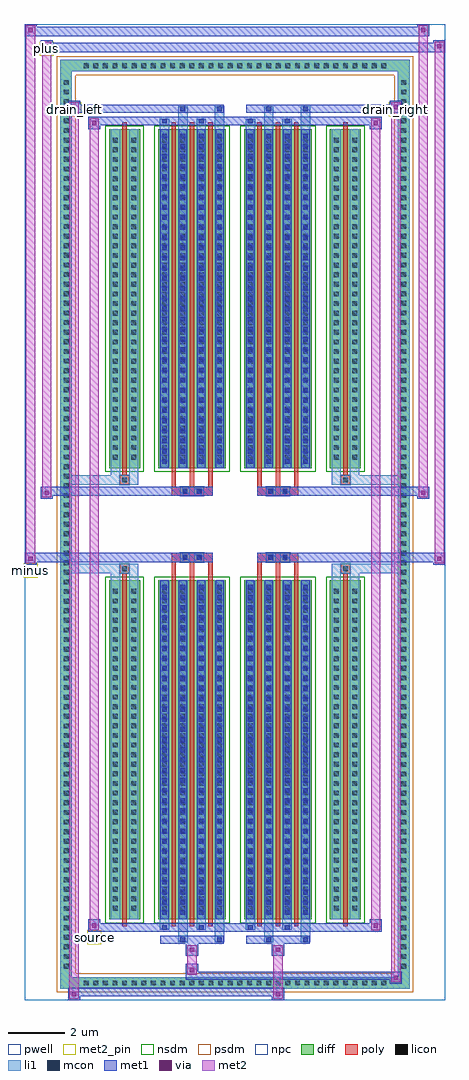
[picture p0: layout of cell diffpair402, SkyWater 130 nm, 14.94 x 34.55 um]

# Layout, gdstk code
import gdstk
lib = gdstk.Library(unit=1e-6, precision=5e-09)
def R(c, l, rs):  # rectangles x0, y0, x1, y1
    for r in rs: c.add(gdstk.rectangle(r[:2], r[2:], *l))
def A(c, l, x, y, w, h, nx, ny, dx, dy):  # array of equal rectangles
    R(c, l, [(x+i*dx, y+j*dy, x+i*dx+w, y+j*dy+h) for i in range(nx) for j in range(ny)])
def P(c, l, *ps):  # polygons
    for p in ps: c.add(gdstk.Polygon(p, *l))
pwell = (64, 44)
diff = (65, 20)
poly = (66, 20)
licon = (66, 44)
li1 = (67, 20)
mcon = (67, 44)
met1 = (68, 20)
via = (68, 44)
met2_pin = (69, 16)
met2 = (69, 20)
nsdm = (93, 44)
psdm = (94, 20)
npc = (95, 20)

diffpair402 = lib.new_cell('diffpair402')
R(diffpair402, pwell, [(-7.45,-16.84,7.45,17.71), (-4.77,-15.03,-0.01,-0.805), (0.01,-15.03,4.77,-0.805), (-4.77,0.805,-0.01,15.03), (0.01,0.805,4.77,15.03)])
A(diffpair402, diff, -5.475, -16.44, 0.41, 0.41, 32, 2, 0.34, 32.47)
A(diffpair402, diff, -6.18, -15.845, 0.41, 0.41, 1, 93, 0, 0.34)
A(diffpair402, diff, 5.77, -15.845, 0.41, 0.41, 1, 93, 0, 0.34)
R(diffpair402, diff, [(-5.475,-16.44,5.475,-16.03), (-6.18,-15.845,-5.77,15.845), (5.77,-15.845,6.18,15.845), (-4.46,-13.985,-3.36,-1.985), (-2.72,-13.985,-0.32,-1.985), (0.32,-13.985,2.72,-1.985), (3.36,-13.985,4.46,-1.985), (-4.46,1.985,-3.36,13.985), (-2.72,1.985,-0.32,13.985), (0.32,1.985,2.72,13.985), (3.36,1.985,4.46,13.985), (-5.475,16.03,5.475,16.44)])
P(diffpair402, diff, [(6.18,16.44),(-6.18,16.44),(-6.18,-16.03),(-5.77,-16.03),(-5.77,16.03),(5.77,16.03),(5.77,-16.03),(-5.77,-16.03),(-6.18,-16.03),(-6.18,-16.44),(6.18,-16.44)])
A(diffpair402, poly, -2.245, -14.235, 0.15, 12.5, 3, 2, 0.65, 15.97)
A(diffpair402, poly, 0.795, -14.235, 0.15, 12.5, 3, 2, 0.65, 15.97)
A(diffpair402, poly, -2.245, -1.735, 0.15, 0.4, 3, 2, 0.65, 3.07)
A(diffpair402, poly, 0.795, -1.735, 0.15, 0.4, 3, 2, 0.65, 3.07)
R(diffpair402, poly, [(-3.985,-14.235,-3.835,-1.735), (3.835,-14.235,3.985,-1.735), (-4.075,-1.735,-3.745,-1.405), (-4.075,-1.735,-3.745,-1.405), (3.745,-1.735,4.075,-1.405), (3.745,-1.735,4.075,-1.405), (-2.245,-1.335,-0.795,-1.005), (-1.935,-1.335,-1.605,-1.005), (-1.435,-1.335,-1.105,-1.005), (0.795,-1.335,2.245,-1.005), (1.105,-1.335,1.435,-1.005), (1.605,-1.335,1.935,-1.005), (-2.245,1.005,-0.795,1.335), (-1.935,1.005,-1.605,1.335), (-1.435,1.005,-1.105,1.335), (0.795,1.005,2.245,1.335), (1.105,1.005,1.435,1.335), (1.605,1.005,1.935,1.335), (-4.075,1.405,-3.745,1.735), (-4.075,1.405,-3.745,1.735), (3.745,1.405,4.075,1.735), (3.745,1.405,4.075,1.735), (-3.985,1.735,-3.835,14.235), (3.835,1.735,3.985,14.235)])
A(diffpair402, licon, -5.355, -16.32, 0.17, 0.17, 32, 2, 0.34, 32.47)
A(diffpair402, licon, -6.06, -15.725, 0.17, 0.17, 1, 93, 0, 0.34)
A(diffpair402, licon, 5.89, -15.725, 0.17, 0.17, 1, 93, 0, 0.34)
A(diffpair402, licon, -4.32, -13.68, 0.17, 0.17, 1, 34, 0, 0.34)
A(diffpair402, licon, -3.67, -13.68, 0.17, 0.17, 1, 34, 0, 0.34)
A(diffpair402, licon, -2.58, -13.68, 0.17, 0.17, 4, 34, 0.65, 0.34)
A(diffpair402, licon, 0.46, -13.68, 0.17, 0.17, 4, 34, 0.65, 0.34)
A(diffpair402, licon, 3.5, -13.68, 0.17, 0.17, 1, 34, 0, 0.34)
A(diffpair402, licon, 4.15, -13.68, 0.17, 0.17, 1, 34, 0, 0.34)
A(diffpair402, licon, -4.32, 2.29, 0.17, 0.17, 1, 34, 0, 0.34)
A(diffpair402, licon, -3.67, 2.29, 0.17, 0.17, 1, 34, 0, 0.34)
A(diffpair402, licon, -2.58, 2.29, 0.17, 0.17, 4, 34, 0.65, 0.34)
A(diffpair402, licon, 0.46, 2.29, 0.17, 0.17, 4, 34, 0.65, 0.34)
A(diffpair402, licon, 3.5, 2.29, 0.17, 0.17, 1, 34, 0, 0.34)
A(diffpair402, licon, 4.15, 2.29, 0.17, 0.17, 1, 34, 0, 0.34)
R(diffpair402, licon, [(-3.995,-1.655,-3.825,-1.485), (3.825,-1.655,3.995,-1.485), (-1.855,-1.255,-1.685,-1.085), (-1.355,-1.255,-1.185,-1.085), (1.185,-1.255,1.355,-1.085), (1.685,-1.255,1.855,-1.085), (-1.855,1.085,-1.685,1.255), (-1.355,1.085,-1.185,1.255), (1.185,1.085,1.355,1.255), (1.685,1.085,1.855,1.255), (-3.995,1.485,-3.825,1.655), (3.825,1.485,3.995,1.655)])
A(diffpair402, li1, -5.435, -16.4, 0.33, 0.33, 32, 2, 0.34, 32.47)
A(diffpair402, li1, -6.14, -15.805, 0.33, 0.33, 1, 93, 0, 0.34)
A(diffpair402, li1, 5.81, -15.805, 0.33, 0.33, 1, 93, 0, 0.34)
A(diffpair402, li1, -2.66, -13.985, 0.33, 12, 4, 2, 0.65, 15.97)
A(diffpair402, li1, 0.38, -13.985, 0.33, 12, 4, 2, 0.65, 15.97)
A(diffpair402, li1, -2.58, -13.83, 0.17, 0.17, 4, 33, 0.65, 0.36)
A(diffpair402, li1, -2.58, -13.83, 0.17, 11.69, 4, 2, 0.65, 15.97)
A(diffpair402, li1, 0.46, -13.83, 0.17, 0.17, 4, 33, 0.65, 0.36)
A(diffpair402, li1, 0.46, -13.83, 0.17, 11.69, 4, 2, 0.65, 15.97)
A(diffpair402, li1, -4.4, -13.76, 0.33, 0.33, 1, 34, 0, 0.34)
A(diffpair402, li1, -3.75, -13.76, 0.33, 0.33, 1, 34, 0, 0.34)
A(diffpair402, li1, -2.66, -13.76, 0.33, 0.33, 4, 34, 0.65, 0.34)
A(diffpair402, li1, 0.38, -13.76, 0.33, 0.33, 4, 34, 0.65, 0.34)
A(diffpair402, li1, 3.42, -13.76, 0.33, 0.33, 1, 34, 0, 0.34)
A(diffpair402, li1, 4.07, -13.76, 0.33, 0.33, 1, 34, 0, 0.34)
A(diffpair402, li1, -2.58, 2.14, 0.17, 0.17, 4, 33, 0.65, 0.36)
A(diffpair402, li1, 0.46, 2.14, 0.17, 0.17, 4, 33, 0.65, 0.36)
A(diffpair402, li1, -4.4, 2.21, 0.33, 0.33, 1, 34, 0, 0.34)
A(diffpair402, li1, -3.75, 2.21, 0.33, 0.33, 1, 34, 0, 0.34)
A(diffpair402, li1, -2.66, 2.21, 0.33, 0.33, 4, 34, 0.65, 0.34)
A(diffpair402, li1, 0.38, 2.21, 0.33, 0.33, 4, 34, 0.65, 0.34)
A(diffpair402, li1, 3.42, 2.21, 0.33, 0.33, 1, 34, 0, 0.34)
A(diffpair402, li1, 4.07, 2.21, 0.33, 0.33, 1, 34, 0, 0.34)
R(diffpair402, li1, [(-6.18,-16.44,-5.77,-16.03), (-6.18,-16.44,-5.77,-16.03), (-5.77,-16.44,5.77,-16.03), (5.77,-16.44,6.18,-16.03), (5.77,-16.44,6.18,-16.03), (-6.18,-16.03,-5.77,16.03), (5.77,-16.03,6.18,16.03), (-2.01,-14.79,-1.68,-13.985), (-1.93,-14.79,-1.76,-14.62), (-0.71,-14.79,-0.38,-13.985), (-0.63,-14.79,-0.46,-14.62), (1.03,-14.79,1.36,-13.985), (1.11,-14.79,1.28,-14.62), (2.33,-14.79,2.66,-13.985), (2.41,-14.79,2.58,-14.62), (-2.66,-14.36,-2.33,-13.985), (-2.58,-14.36,-2.41,-14.19), (-1.36,-14.36,-1.03,-13.985), (-1.28,-14.36,-1.11,-14.19), (0.38,-14.36,0.71,-13.985), (0.46,-14.36,0.63,-14.19), (1.68,-14.36,2.01,-13.985), (1.76,-14.36,1.93,-14.19), (-4.4,-13.985,-4.07,-1.985), (-3.75,-13.985,-3.42,-1.985), (3.42,-13.985,3.75,-1.985), (4.07,-13.985,4.4,-1.985), (-4.4,-1.985,-4.07,-1.405), (-3.75,-1.985,-3.42,-1.405), (3.42,-1.985,3.75,-1.405), (4.07,-1.985,4.4,-1.405), (-6.18,-1.735,-4.075,-1.405), (-4.4,-1.735,-4.075,-1.405), (-4.075,-1.735,-3.745,-1.405), (-3.745,-1.735,-3.42,-1.405), (3.42,-1.735,3.745,-1.405), (3.745,-1.735,4.075,-1.405), (3.745,-1.735,6.18,-1.405), (4.075,-1.735,4.4,-1.405), (-1.935,-1.335,-1.605,-1.005), (-1.435,-1.335,-1.105,-1.005), (1.105,-1.335,1.435,-1.005), (1.605,-1.335,1.935,-1.005), (-1.935,1.005,-1.605,1.335), (-1.435,1.005,-1.105,1.335), (1.105,1.005,1.435,1.335), (1.605,1.005,1.935,1.335), (-6.18,1.405,-4.075,1.735), (-4.4,1.405,-4.075,1.735), (-4.4,1.405,-4.07,1.985), (-4.075,1.405,-3.745,1.735), (-3.75,1.405,-3.42,1.985), (-3.745,1.405,-3.42,1.735), (3.42,1.405,3.745,1.735), (3.42,1.405,3.75,1.985), (3.745,1.405,4.075,1.735), (3.745,1.405,6.18,1.735), (4.07,1.405,4.4,1.985), (4.075,1.405,4.4,1.735), (-4.4,1.985,-4.07,13.985), (-3.75,1.985,-3.42,13.985), (3.42,1.985,3.75,13.985), (4.07,1.985,4.4,13.985), (-2.66,13.985,-2.33,14.36), (-2.01,13.985,-1.68,14.79), (-1.36,13.985,-1.03,14.36), (-0.71,13.985,-0.38,14.79), (0.38,13.985,0.71,14.36), (1.03,13.985,1.36,14.79), (1.68,13.985,2.01,14.36), (2.33,13.985,2.66,14.79), (-2.58,14.19,-2.41,14.36), (-1.28,14.19,-1.11,14.36), (0.46,14.19,0.63,14.36), (1.76,14.19,1.93,14.36), (-1.93,14.62,-1.76,14.79), (-0.63,14.62,-0.46,14.79), (1.11,14.62,1.28,14.79), (2.41,14.62,2.58,14.79), (-6.18,16.03,-5.77,16.44), (-6.18,16.03,-5.77,16.44), (-5.77,16.03,5.77,16.44), (5.77,16.03,6.18,16.44), (5.77,16.03,6.18,16.44)])
A(diffpair402, mcon, -2.58, -13.83, 0.17, 0.17, 4, 33, 0.65, 0.36)
A(diffpair402, mcon, 0.46, -13.83, 0.17, 0.17, 4, 33, 0.65, 0.36)
A(diffpair402, mcon, -2.58, 2.14, 0.17, 0.17, 4, 33, 0.65, 0.36)
A(diffpair402, mcon, 0.46, 2.14, 0.17, 0.17, 4, 33, 0.65, 0.36)
R(diffpair402, mcon, [(-1.93,-14.79,-1.76,-14.62), (-0.63,-14.79,-0.46,-14.62), (1.11,-14.79,1.28,-14.62), (2.41,-14.79,2.58,-14.62), (-2.58,-14.36,-2.41,-14.19), (-1.28,-14.36,-1.11,-14.19), (0.46,-14.36,0.63,-14.19), (1.76,-14.36,1.93,-14.19), (-1.855,-1.255,-1.685,-1.085), (-1.355,-1.255,-1.185,-1.085), (1.185,-1.255,1.355,-1.085), (1.685,-1.255,1.855,-1.085), (-1.855,1.085,-1.685,1.255), (-1.355,1.085,-1.185,1.255), (1.185,1.085,1.355,1.255), (1.685,1.085,1.855,1.255), (-2.58,14.19,-2.41,14.36), (-1.28,14.19,-1.11,14.36), (0.46,14.19,0.63,14.36), (1.76,14.19,1.93,14.36), (-1.93,14.62,-1.76,14.79), (-0.63,14.62,-0.46,14.79), (1.11,14.62,1.28,14.79), (2.41,14.62,2.58,14.79)])
A(diffpair402, met1, -2.64, -13.985, 0.29, 12, 4, 2, 0.65, 15.97)
A(diffpair402, met1, 0.4, -13.985, 0.29, 12, 4, 2, 0.65, 15.97)
A(diffpair402, met1, -2.64, -13.89, 0.29, 0.29, 4, 33, 0.65, 0.36)
A(diffpair402, met1, 0.4, -13.89, 0.29, 0.29, 4, 33, 0.65, 0.36)
A(diffpair402, met1, -2.64, 2.08, 0.29, 0.29, 4, 33, 0.65, 0.36)
A(diffpair402, met1, 0.4, 2.08, 0.29, 0.29, 4, 33, 0.65, 0.36)
R(diffpair402, met1, [(-5.91,-16.84,-5.48,-16.41), (1.305,-16.84,1.735,-16.41), (-5.91,-16.7,1.735,-16.41), (5.48,-16.27,5.91,-15.84), (-1.735,-16.13,5.91,-15.84), (-1.735,-15.99,-1.305,-15.56), (-1.735,-15.28,-1.305,-14.85), (1.305,-15.28,1.735,-14.85), (-2.64,-14.85,-0.4,-14.56), (-1.99,-14.85,-1.7,-14.56), (-0.69,-14.85,-0.4,-14.56), (0.4,-14.85,2.64,-14.56), (1.05,-14.85,1.34,-14.56), (2.35,-14.85,2.64,-14.56), (-5.2,-14.42,-4.77,-13.99), (-5.2,-14.42,-2.64,-14.13), (-2.64,-14.42,-2.35,-14.13), (-2.64,-14.42,-0.4,-14.13), (-1.34,-14.42,-1.05,-14.13), (-0.4,-14.42,0.4,-14.13), (0.4,-14.42,0.69,-14.13), (0.4,-14.42,2.64,-14.13), (1.7,-14.42,1.99,-14.13), (2.64,-14.42,5.2,-14.13), (4.77,-14.42,5.2,-13.99), (-7.45,-1.435,-7.02,-1.005), (7.02,-1.435,7.45,-1.005), (-7.45,-1.335,-0.795,-1.005), (-2.245,-1.335,-0.795,-1.005), (0.795,-1.335,2.245,-1.005), (0.795,-1.335,7.45,-1.005), (-1.915,-1.315,-1.625,-1.025), (-1.415,-1.315,-1.125,-1.025), (1.125,-1.315,1.415,-1.025), (1.625,-1.315,1.915,-1.025), (-6.88,0.905,-6.45,1.335), (6.45,0.905,6.88,1.335), (-6.88,1.005,-2.245,1.335), (-2.245,1.005,-0.795,1.335), (0.795,1.005,2.245,1.335), (2.245,1.005,6.88,1.335), (-1.915,1.025,-1.625,1.315), (-1.415,1.025,-1.125,1.315), (1.125,1.025,1.415,1.315), (1.625,1.025,1.915,1.315), (-5.2,13.99,-4.77,14.42), (4.77,13.99,5.2,14.42), (-5.2,14.13,-2.64,14.42), (-2.64,14.13,-2.35,14.42), (-2.64,14.13,-0.4,14.42), (-1.34,14.13,-1.05,14.42), (-0.4,14.13,0.4,14.42), (0.4,14.13,0.69,14.42), (0.4,14.13,2.64,14.42), (1.7,14.13,1.99,14.42), (2.64,14.13,5.2,14.42), (-5.91,14.56,-5.48,14.99), (-5.91,14.56,-2.64,14.85), (-2.64,14.56,-0.4,14.85), (-1.99,14.56,-1.7,14.85), (-0.69,14.56,-0.4,14.85), (0.4,14.56,2.64,14.85), (1.05,14.56,1.34,14.85), (2.35,14.56,2.64,14.85), (2.64,14.56,5.91,14.85), (5.48,14.56,5.91,14.99), (-6.88,16.71,-6.45,17.14), (-6.88,16.71,-4.77,17.04), (-4.77,16.71,4.77,17.04), (4.77,16.71,7.45,17.04), (7.02,16.71,7.45,17.14), (-7.45,17.28,-7.02,17.71), (-7.45,17.28,-4.77,17.61), (-4.77,17.28,4.77,17.61), (4.77,17.28,6.88,17.61), (6.45,17.28,6.88,17.71)])
R(diffpair402, via, [(-5.77,-16.7,-5.62,-16.55), (1.445,-16.7,1.595,-16.55), (5.62,-16.13,5.77,-15.98), (-1.595,-15.85,-1.445,-15.7), (-1.595,-15.14,-1.445,-14.99), (1.445,-15.14,1.595,-14.99), (-5.06,-14.28,-4.91,-14.13), (4.91,-14.28,5.06,-14.13), (-7.31,-1.295,-7.16,-1.145), (7.16,-1.295,7.31,-1.145), (-6.74,1.045,-6.59,1.195), (6.59,1.045,6.74,1.195), (-5.06,14.13,-4.91,14.28), (4.91,14.13,5.06,14.28), (-5.77,14.7,-5.62,14.85), (5.62,14.7,5.77,14.85), (-6.74,16.85,-6.59,17), (7.16,16.85,7.31,17), (-7.31,17.42,-7.16,17.57), (6.59,17.42,6.74,17.57)])
R(diffpair402, met2_pin, [(-5.235,-14.87,-4.735,-14.37), (-7.485,-1.885,-6.985,-1.385), (-5.945,14.44,-5.445,14.94), (5.445,14.44,5.945,14.94), (-6.915,16.59,-6.415,17.09)])
R(diffpair402, met2, [(-5.86,-16.79,-5.53,-16.46), (-5.86,-16.79,-5.53,14.94), (1.355,-16.79,1.685,-16.46), (1.355,-16.46,1.685,-15.23), (5.53,-16.22,5.86,-15.89), (5.53,-16.22,5.86,14.94), (-1.685,-15.94,-1.355,-15.61), (-1.685,-15.61,-1.355,-15.23), (-1.685,-15.23,-1.355,-14.9), (1.355,-15.23,1.685,-14.9), (-5.15,-14.37,-4.82,-14.04), (-5.15,-14.37,-4.82,14.37), (4.82,-14.37,5.15,-14.04), (4.82,-14.37,5.15,14.37), (-7.4,-1.385,-7.07,-1.055), (-7.4,-1.385,-7.07,17.66), (7.07,-1.385,7.4,-1.055), (7.07,-1.385,7.4,17.09), (-6.83,0.955,-6.5,1.285), (-6.83,0.955,-6.5,17.09), (6.5,0.955,6.83,1.285), (6.5,0.955,6.83,17.66), (-5.15,14.04,-4.82,14.37), (4.82,14.04,5.15,14.37), (-5.86,14.61,-5.53,14.94), (5.53,14.61,5.86,14.94), (-6.83,16.76,-6.5,17.09), (7.07,16.76,7.4,17.09), (-7.4,17.33,-7.07,17.66), (6.5,17.33,6.83,17.66)])
P(diffpair402, met2, [(7.4,-1.385),(7.4,-1.385),(7.4,-1.055),(7.4,-1.055)],
  [(7.4,16.76),(7.4,16.76),(7.4,17.09),(7.4,17.09)],
  [(-7.07,-1.385),(-7.07,-1.385),(-7.07,-1.055),(-7.07,-1.055)],
  [(-7.07,17.33),(-7.07,17.33),(-7.07,17.66),(-7.07,17.66)],
  [(6.83,0.955),(6.83,0.955),(6.83,1.285),(6.83,1.285)],
  [(6.83,17.33),(6.83,17.33),(6.83,17.66),(6.83,17.66)],
  [(-6.5,0.955),(-6.5,0.955),(-6.5,1.285),(-6.5,1.285)],
  [(-6.5,16.76),(-6.5,16.76),(-6.5,17.09),(-6.5,17.09)],
  [(-5.53,-16.79),(-5.53,-16.79),(-5.53,-16.46),(-5.53,-16.46)],
  [(-5.53,14.61),(-5.53,14.61),(-5.53,14.94),(-5.53,14.94)],
  [(5.86,-16.22),(5.86,-16.22),(5.86,-15.89),(5.86,-15.89)],
  [(5.86,14.61),(5.86,14.61),(5.86,14.94),(5.86,14.94)],
  [(-4.82,-14.37),(-4.82,-14.37),(-4.82,-14.04),(-4.82,-14.04)],
  [(-4.82,14.04),(-4.82,14.04),(-4.82,14.37),(-4.82,14.37)],
  [(5.15,-14.37),(5.15,-14.37),(5.15,-14.04),(5.15,-14.04)],
  [(5.15,14.04),(5.15,14.04),(5.15,14.37),(5.15,14.37)])
R(diffpair402, nsdm, [(-4.59,-14.115,-3.23,-1.855), (-2.85,-14.115,-0.19,-1.855), (0.19,-14.115,2.85,-1.855), (3.23,-14.115,4.59,-1.855), (-4.59,1.855,-3.23,14.115), (-2.85,1.855,-0.19,14.115), (0.19,1.855,2.85,14.115), (3.23,1.855,4.59,14.115)])
P(diffpair402, psdm, [(6.31,16.57),(-6.31,16.57),(-6.31,-15.9),(-5.64,-15.9),(-5.64,15.9),(5.64,15.9),(5.64,-15.9),(-5.64,-15.9),(-6.31,-15.9),(-6.31,-16.57),(6.31,-16.57)])
R(diffpair402, npc, [(-4.095,-1.755,-3.725,-1.385), (3.725,-1.755,4.095,-1.385), (-1.955,-1.355,-1.585,-0.985), (-1.955,-1.355,-1.085,-0.985), (-1.955,-1.355,-1.085,-0.985), (-1.455,-1.355,-1.085,-0.985), (1.085,-1.355,1.455,-0.985), (1.085,-1.355,1.955,-0.985), (1.085,-1.355,1.955,-0.985), (1.585,-1.355,1.955,-0.985), (-1.955,0.985,-1.585,1.355), (-1.955,0.985,-1.085,1.355), (-1.955,0.985,-1.085,1.355), (-1.455,0.985,-1.085,1.355), (1.085,0.985,1.455,1.355), (1.085,0.985,1.955,1.355), (1.085,0.985,1.955,1.355), (1.585,0.985,1.955,1.355), (-4.095,1.385,-3.725,1.755), (3.725,1.385,4.095,1.755)])
diffpair402.add(gdstk.Label('minus', (-7.235,-1.635), layer=69, texttype=5))
diffpair402.add(gdstk.Label('drain_right', (5.695,14.69), layer=69, texttype=5))
diffpair402.add(gdstk.Label('drain_left', (-5.695,14.69), layer=69, texttype=5))
diffpair402.add(gdstk.Label('source', (-4.985,-14.62), layer=69, texttype=5))
diffpair402.add(gdstk.Label('plus', (-6.665,16.84), layer=69, texttype=5))

lib.write_gds('diffpair402.gds')
